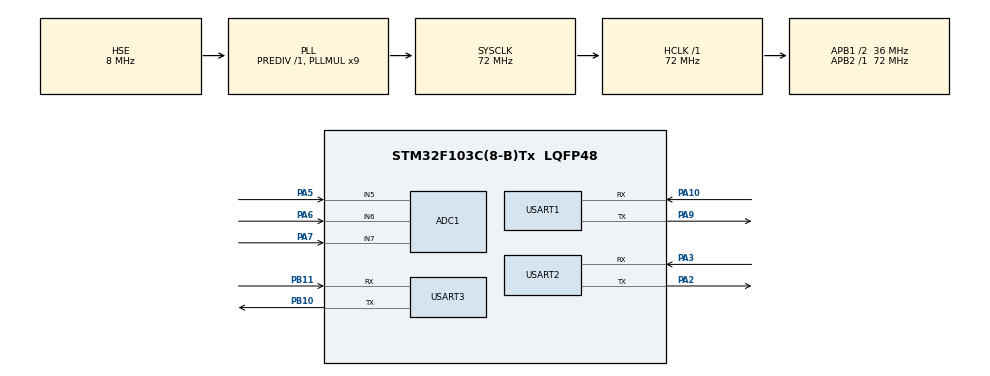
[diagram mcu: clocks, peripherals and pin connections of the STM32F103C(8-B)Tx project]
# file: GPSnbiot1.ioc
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ADC1.Channel-0\#ChannelRegularConversion=ADC_CHANNEL_5
ADC1.Channel-1\#ChannelRegularConversion=ADC_CHANNEL_5
ADC1.Channel-2\#ChannelRegularConversion=ADC_CHANNEL_5
ADC1.ContinuousConvMode=ENABLE
ADC1.NbrOfConversion=3
ADC1.NbrOfConversionFlag=1
ADC1.Rank-0\#ChannelRegularConversion=1
ADC1.Rank-1\#ChannelRegularConversion=2
ADC1.Rank-2\#ChannelRegularConversion=3
ADC1.SamplingTime-0\#ChannelRegularConversion=ADC_SAMPLETIME_239CYCLES_5
ADC1.SamplingTime-1\#ChannelRegularConversion=ADC_SAMPLETIME_239CYCLES_5
ADC1.SamplingTime-2\#ChannelRegularConversion=ADC_SAMPLETIME_239CYCLES_5
ADC1.master=1
Dma.ADC1.0.Direction=DMA_PERIPH_TO_MEMORY
Dma.ADC1.0.Instance=DMA1_Channel1
Dma.ADC1.0.MemDataAlignment=DMA_MDATAALIGN_WORD
Dma.ADC1.0.MemInc=DMA_MINC_ENABLE
Dma.ADC1.0.Mode=DMA_CIRCULAR
Dma.ADC1.0.PeriphDataAlignment=DMA_PDATAALIGN_WORD
Dma.ADC1.0.PeriphInc=DMA_PINC_DISABLE
Dma.ADC1.0.Priority=DMA_PRIORITY_MEDIUM
Dma.Request0=ADC1
Mcu.Family=STM32F1
Mcu.Name=STM32F103C(8-B)Tx
Mcu.Package=LQFP48
NVIC.ADC1_2_IRQn=true\:0\:0\:false\:false\:true\:true\:true
NVIC.DMA1_Channel1_IRQn=true\:0\:0\:false\:false\:true\:false\:true
NVIC.PriorityGroup=NVIC_PRIORITYGROUP_4
NVIC.TIM2_IRQn=true\:0\:0\:false\:false\:true\:true\:true
NVIC.USART1_IRQn=true\:0\:0\:false\:false\:true\:true\:true
NVIC.USART2_IRQn=true\:0\:0\:false\:false\:true\:true\:true
NVIC.USART3_IRQn=true\:0\:0\:false\:false\:true\:true\:true
PA10.Mode=Asynchronous
PA10.Signal=USART1_RX
PA13.Mode=Serial_Wire
PA13.Signal=SYS_JTMS-SWDIO
PA14.Mode=Serial_Wire
PA14.Signal=SYS_JTCK-SWCLK
PA2.Mode=Asynchronous
PA2.Signal=USART2_TX
PA3.Mode=Asynchronous
PA3.Signal=USART2_RX
PA5.Signal=ADCx_IN5
PA6.Signal=ADCx_IN6
PA7.Signal=ADCx_IN7
PA9.Mode=Asynchronous
PA9.Signal=USART1_TX
PB10.Mode=Asynchronous
PB10.Signal=USART3_TX
PB11.Mode=Asynchronous
PB11.Signal=USART3_RX
PC14-OSC32_IN.Mode=LSE-External-Oscillator
PC14-OSC32_IN.Signal=RCC_OSC32_IN
PC15-OSC32_OUT.Mode=LSE-External-Oscillator
PC15-OSC32_OUT.Signal=RCC_OSC32_OUT
PD0-OSC_IN.Mode=HSE-External-Oscillator
PD0-OSC_IN.Signal=RCC_OSC_IN
PD1-OSC_OUT.Mode=HSE-External-Oscillator
PD1-OSC_OUT.Signal=RCC_OSC_OUT
ProjectManager.HeapSize=0x200
ProjectManager.StackSize=0x400
ProjectManager.TargetToolchain=MDK-ARM V5.32
RCC.ADCPresc=RCC_ADCPCLK2_DIV6
RCC.AHBFreq_Value=72000000
RCC.APB1CLKDivider=RCC_HCLK_DIV2
RCC.APB1Freq_Value=36000000
RCC.APB1TimFreq_Value=72000000
RCC.APB2Freq_Value=72000000
RCC.APB2TimFreq_Value=72000000
RCC.HCLKFreq_Value=72000000
RCC.PLLMUL=RCC_PLL_MUL9
RCC.PLLSourceVirtual=RCC_PLLSOURCE_HSE
RCC.SYSCLKFreq_VALUE=72000000
RCC.SYSCLKSource=RCC_SYSCLKSOURCE_PLLCLK
RCC.USBFreq_Value=72000000
SH.ADCx_IN5.0=ADC1_IN5,IN5
SH.ADCx_IN6.0=ADC1_IN6,IN6
SH.ADCx_IN7.0=ADC1_IN7,IN7
TIM2.Period=1000-1
TIM2.Prescaler=7200-1
USART1.VirtualMode=VM_ASYNC
USART2.VirtualMode=VM_ASYNC
USART3.VirtualMode=VM_ASYNC
VP_TIM2_VS_ClockSourceINT.Mode=Internal
board=custom

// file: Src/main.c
/* USER CODE BEGIN Header */
/**
  ******************************************************************************
  * @file           : main.c
  * @brief          : Main program body
  ******************************************************************************
  * @attention
  *
  * <h2><center>&copy; Copyright (c) 2024 STMicroelectronics.
  * All rights reserved.</center></h2>
  *
  * This software component is licensed by ST under BSD 3-Clause license,
  * the "License"; You may not use this file except in compliance with the
  * License. You may obtain a copy of the License at:
  *                        opensource.org/licenses/BSD-3-Clause
  *
  ******************************************************************************
  */
/* USER CODE END Header */
#include "main.h"
#include "adc.h"
#include "dma.h"
#include "tim.h"
#include "usart.h"
#include "gpio.h"

/* USER CODE BEGIN Includes */
#include "string.h"
#include "nbiot.h"
#include "gps.h"
#include "data_frame.h"
#include "stdio.h"

/* USER CODE END Includes */

/* USER CODE BEGIN PTD */
char USART3_RxBuffer[RxBuffer_MaxSize];   //接收数据
uint8_t USART3_aRxBuffer;			//接收中断缓冲
uint8_t UART3_Rx_Cnt = 0;		//接收缓冲计数
char atCommand[RxBuffer_MaxSize];
volatile uint32_t last_heartbeat_time = 0; // 上次心跳时间
volatile uint8_t heartbeat_received = 0;    // 心跳接收标志
const uint32_t timeout = 60000;

uint16_t USART1_RX_STA;
uint8_t gUart1ReceBuf[UART1RX_MAX_LENGTH]; // 串口1接收缓冲区
uint16_t gReceCount ;
uint8_t suc_rece; // 接收成功标志

uint8_t succ_receive;
/* USER CODE END PTD */

void SystemClock_Config(void);

int main(void)
{

  /* MCU Configuration--------------------------------------------------------*/

  /* Reset of all peripherals, Initializes the Flash interface and the Systick. */
  HAL_Init();

  /* Configure the system clock */
  SystemClock_Config();

  /* Initialize all configured peripherals */
  MX_GPIO_Init();
  MX_DMA_Init();
  MX_ADC1_Init();
  MX_TIM2_Init();
  MX_USART1_UART_Init();
  MX_USART2_UART_Init();
  MX_USART3_UART_Init();
  /* USER CODE BEGIN 2 */

	NB_IOT_Init();
//gps_init();
strcpy((char *)USART3_RxBuffer, "OK");

    uint8_t connectStatus = NB_IotConnect();
    uint8_t NB_IoT_ZDFWStatus = NB_IoT_ZDFW();
	uint8_t NB_IoT_connect_MQTTStatus = NB_IoT_connect_MQTT();
    // 判断返回值并进行相应处理
    if (connectStatus == 1) {
        // 连接成功
        HAL_UART_Transmit(&huart1, (uint8_t*)"连接成功\r\n", 11, HAL_MAX_DELAY);
    } else {
        // 连接失败
        HAL_UART_Transmit(&huart1, (uint8_t*)"连接失败\r\n", 11, HAL_MAX_DELAY);
    }
//	  if (NB_IoT_ZDFWStatus == 1) {
//        // 连接成功
//        HAL_UART_Transmit(&huart1, (uint8_t*)"连接成功\r\n", 11, HAL_MAX_DELAY);
//    } else {
//        // 连接失败
//        HAL_UART_Transmit(&huart1, (uint8_t*)"连接失败\r\n", 11, HAL_MAX_DELAY);
//    }
//	  if (NB_IoT_connect_MQTTStatus == 1) {
//        // 连接成功
//        HAL_UART_Transmit(&huart1, (uint8_t*)"连接成功\r\n", 11, HAL_MAX_DELAY);
//    } else {
//        // 连接失败
//        HAL_UART_Transmit(&huart1, (uint8_t*)"连接失败\r\n", 11, HAL_MAX_DELAY);
//    }

//    publishMQTTMessage();
//	  HAL_Delay(1000);
  /* USER CODE END 2 */

  /* Infinite loop */
  while (1)
  {

    /* USER CODE BEGIN 3 */
	  //	  if(suc_rece ==1)
//	  {
//		    Uart_Rece_Pares();
//			Data_Transfor ();
//	  }

//    snprintf(atCommand, sizeof(atCommand), "AT+QMTPUB=\"%s\"\r\n", gUart1ReceBuf);
//    // 发送AT指令
//	send_NB_IoT(atCommand);
//	int myVariable = longitude;
//  publishMQTTMessage(myVariable);

  }
  /* USER CODE END 3 */
}

void SystemClock_Config(void)
{
  RCC_OscInitTypeDef RCC_OscInitStruct = {0};
  RCC_ClkInitTypeDef RCC_ClkInitStruct = {0};
  RCC_PeriphCLKInitTypeDef PeriphClkInit = {0};

  /** Initializes the RCC Oscillators according to the specified parameters
  * in the RCC_OscInitTypeDef structure.
  */
  RCC_OscInitStruct.OscillatorType = RCC_OSCILLATORTYPE_HSE;
  RCC_OscInitStruct.HSEState = RCC_HSE_ON;
  RCC_OscInitStruct.HSEPredivValue = RCC_HSE_PREDIV_DIV1;
  RCC_OscInitStruct.HSIState = RCC_HSI_ON;
  RCC_OscInitStruct.PLL.PLLState = RCC_PLL_ON;
  RCC_OscInitStruct.PLL.PLLSource = RCC_PLLSOURCE_HSE;
  RCC_OscInitStruct.PLL.PLLMUL = RCC_PLL_MUL9;
  if (HAL_RCC_OscConfig(&RCC_OscInitStruct) != HAL_OK)
  {
    Error_Handler();
  }
  /** Initializes the CPU, AHB and APB buses clocks
  */
  RCC_ClkInitStruct.ClockType = RCC_CLOCKTYPE_HCLK|RCC_CLOCKTYPE_SYSCLK
                              |RCC_CLOCKTYPE_PCLK1|RCC_CLOCKTYPE_PCLK2;
  RCC_ClkInitStruct.SYSCLKSource = RCC_SYSCLKSOURCE_PLLCLK;
  RCC_ClkInitStruct.AHBCLKDivider = RCC_SYSCLK_DIV1;
  RCC_ClkInitStruct.APB1CLKDivider = RCC_HCLK_DIV2;
  RCC_ClkInitStruct.APB2CLKDivider = RCC_HCLK_DIV1;

  if (HAL_RCC_ClockConfig(&RCC_ClkInitStruct, FLASH_LATENCY_2) != HAL_OK)
  {
    Error_Handler();
  }
  PeriphClkInit.PeriphClockSelection = RCC_PERIPHCLK_ADC;
  PeriphClkInit.AdcClockSelection = RCC_ADCPCLK2_DIV6;
  if (HAL_RCCEx_PeriphCLKConfig(&PeriphClkInit) != HAL_OK)
  {
    Error_Handler();
  }
}

/* USER CODE BEGIN 4 */

void HAL_UART_RxCpltCallback(UART_HandleTypeDef *huart)
{

	if (huart->Instance == USART3)
	{

 	if(UART3_Rx_Cnt >= 255)  //溢出判断
	{
		UART3_Rx_Cnt = 0;
		memset(USART3_RxBuffer,0x00,sizeof(USART3_RxBuffer));
		HAL_UART_Transmit(&huart3, (uint8_t *)"数据溢出", 10,0xFFFF);
  }
	else
	{
		USART3_RxBuffer[UART3_Rx_Cnt++] =USART3_aRxBuffer;   //接收数据转存
			if(USART3_RxBuffer[UART3_Rx_Cnt-1] == '\n')
			{
//				HAL_UART_Transmit(&huart3, (uint8_t *)&USART3_RxBuffer, UART3_Rx_Cnt,0xFFFF); //将收到的信息发送出去
				succ_receive = 1;
//				while(HAL_UART_GetState(&huart1) == HAL_UART_STATE_BUSY_TX);//检测UART发送结束
				UART3_Rx_Cnt = 0;
			}
	}
			HAL_UART_Receive_IT(&huart3, (uint8_t *)&USART3_aRxBuffer, 1);   //再开启接收中断
}
	if (huart->Instance == USART1)
	  {
		uint8_t recContent = 0;   // 存储接收内容
	// 如果串口接收到内容
	    if (USART1_RX_STA != 0)
	{
        USART1_RX_STA = 0;
		HAL_UART_Receive_IT(&huart1, (uint8_t *)&gUart1ReceBuf, 1);
	}
		// 如果接收到的是$（$是一帧信息的开始）
		// 保证每接收到新的一帧信息就从缓冲区起始位置开始存储
		if(recContent == '$')
		{
			gReceCount = 0;   // 清零帧信息计数变量
		}

		// 存储接收到的帧信息
		gUart1ReceBuf[gReceCount ++] = recContent;

		// 确定是否收到"GPRMC/GNRMC"这一帧数据
		if(gUart1ReceBuf[0] == '$' && gUart1ReceBuf[4] == 'M' && gUart1ReceBuf[5] == 'C')
		{
			// 接收到换行（接收完了一帧信息）
			if(recContent == '\n')
			{
				memset(receDataFrame.Frame_Buffer, 0, Frame_Buffer_Length);   // 初始化接收帧信息数组
				memcpy(receDataFrame.Frame_Buffer, gUart1ReceBuf, gReceCount);   // 保存GPRMC/GNRMC这帧的数据
				receDataFrame.isGetData = 1;   // 接收成功
				suc_rece = 1;
				gReceCount = 0;   // 清零接收帧信息接收计数变量
				memset(gUart1ReceBuf, 0, UART1RX_MAX_LENGTH);   // 清空串口1接收Buf
			}
		}

		// 如果接收内容超出最大长度，不再继续接收
		if(gReceCount >= UART1RX_MAX_LENGTH)
		{
			gReceCount = UART1RX_MAX_LENGTH;
		}
	}

}

void HAL_TIM_PeriodElapsedCallback(TIM_HandleTypeDef *htim)
{
if (htim->Instance == TIM2)
{
		send_NB_IoT("AT\r\n");
        last_heartbeat_time = HAL_GetTick(); // 更新心跳时间
        heartbeat_received = 0; // 重置心跳接收标志
	if (NB_IoT_ack_check("OK") == 0)
	{
            heartbeat_received = 1; // 收到回应
	}
	 if ((heartbeat_received == 0) && (HAL_GetTick() - last_heartbeat_time >= timeout))
		 {
            nbiot_reset(); // 重置模块
            HAL_Delay(5000); // 等待重置完成
			NB_IotConnect(); // 重新连接
            NB_IoT_ZDFW(); // 重新配置
			NB_IoT_connect_MQTT(); // 重新连接MQTT
		}
}
}

/* USER CODE END 4 */

void Error_Handler(void)
{
  __disable_irq();
  while (1)
  {
  }
}

/************************ (C) COPYRIGHT STMicroelectronics *****END OF FILE****/
